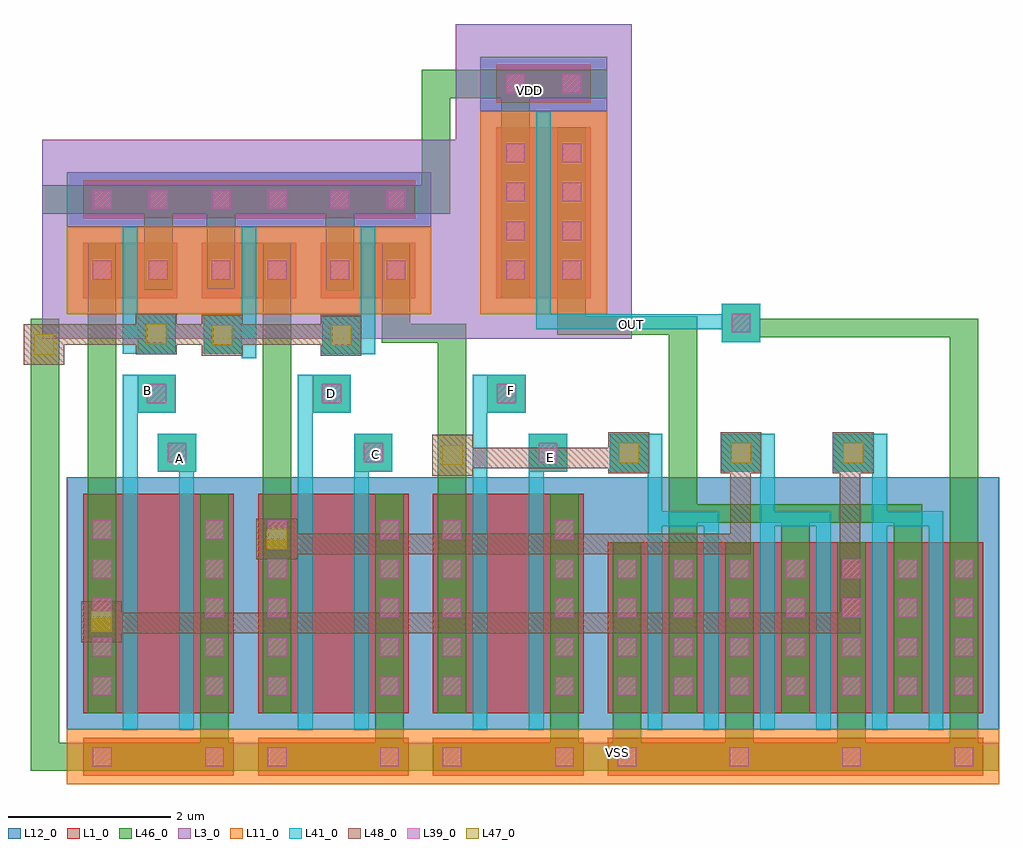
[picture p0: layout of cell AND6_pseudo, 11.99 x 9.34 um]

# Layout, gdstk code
import gdstk
lib = gdstk.Library(unit=1e-6, precision=1e-09)
def R(c, l, rs):  # rectangles x0, y0, x1, y1
    for r in rs: c.add(gdstk.rectangle(r[:2], r[2:], *l))
def A(c, l, x, y, w, h, nx, ny, dx, dy):  # array of equal rectangles
    R(c, l, [(x+i*dx, y+j*dy, x+i*dx+w, y+j*dy+h) for i in range(nx) for j in range(ny)])
L1_0 = (1, 0)
L3_0 = (3, 0)
L11_0 = (11, 0)
L12_0 = (12, 0)
L39_0 = (39, 0)
L41_0 = (41, 0)
L46_0 = (46, 0)
L47_0 = (47, 0)
L48_0 = (48, 0)

and6_pseudo = lib.new_cell('AND6_pseudo')
A(and6_pseudo, L1_0, 6.44, -6.255, 1.85, 0.47, 3, 1, 2.15, 0)
A(and6_pseudo, L1_0, 6.44, -5.485, 1.85, 2.7, 3, 1, 2.15, 0)
A(and6_pseudo, L1_0, 6.44, -0.385, 1.16, 0.68, 3, 1, 1.46, 0)
R(and6_pseudo, L1_0, [(12.89,-6.255,17.5,-5.785), (12.89,-5.485,17.5,-3.385), (11.52,-0.385,12.68,1.715), (6.44,0.595,10.52,1.065), (11.52,2.015,12.68,2.485)])
R(and6_pseudo, L3_0, [(5.94,-0.885,11.02,1.565), (11.02,-0.885,13.18,2.985)])
R(and6_pseudo, L11_0, [(6.24,-6.355,17.7,-5.685), (6.24,-0.585,10.72,0.495), (11.32,-0.585,12.88,1.915)])
R(and6_pseudo, L12_0, [(6.24,-5.685,17.7,-2.585), (6.24,0.495,10.72,1.165), (11.32,1.915,12.88,2.585)])
A(and6_pseudo, L39_0, 13.01, -6.135, 0.23, 0.23, 4, 1, 1.38, 0)
A(and6_pseudo, L39_0, 6.56, -5.265, 0.23, 0.23, 1, 5, 0, 0.48)
A(and6_pseudo, L39_0, 7.94, -5.265, 0.23, 0.23, 1, 5, 0, 0.48)
A(and6_pseudo, L39_0, 8.71, -5.265, 0.23, 0.23, 1, 5, 0, 0.48)
A(and6_pseudo, L39_0, 10.09, -5.265, 0.23, 0.23, 1, 5, 0, 0.48)
A(and6_pseudo, L39_0, 10.86, -5.265, 0.23, 0.23, 1, 5, 0, 0.48)
A(and6_pseudo, L39_0, 12.24, -5.265, 0.23, 0.23, 1, 5, 0, 0.48)
A(and6_pseudo, L39_0, 13.01, -5.265, 0.23, 0.23, 7, 4, 0.69, 0.48)
A(and6_pseudo, L39_0, 13.03, -2.4, 0.23, 0.23, 3, 1, 1.38, 0)
A(and6_pseudo, L39_0, 7.23, -1.675, 0.23, 0.23, 3, 1, 2.15, 0)
A(and6_pseudo, L39_0, 11.64, -0.155, 0.23, 0.23, 1, 4, 0, 0.48)
A(and6_pseudo, L39_0, 12.33, -0.155, 0.23, 0.23, 1, 4, 0, 0.48)
R(and6_pseudo, L39_0, [(6.56,-6.135,6.79,-5.905), (7.94,-6.135,8.17,-5.905), (8.71,-6.135,8.94,-5.905), (10.09,-6.135,10.32,-5.905), (10.86,-6.135,11.09,-5.905), (12.24,-6.135,12.47,-5.905), (7.48,-2.4,7.71,-2.17), (9.89,-2.4,10.12,-2.17), (12.04,-2.4,12.27,-2.17), (9.5,-0.955,9.73,-0.725), (8.04,-0.95,8.27,-0.72), (7.23,-0.935,7.46,-0.705), (14.41,-0.805,14.64,-0.575), (6.56,-0.155,6.79,0.075), (7.25,-0.155,7.48,0.075), (8.02,-0.155,8.25,0.075), (8.71,-0.155,8.94,0.075), (9.48,-0.155,9.71,0.075), (10.17,-0.155,10.4,0.075), (6.56,0.715,6.79,0.945), (7.25,0.715,7.48,0.945), (8.02,0.715,8.25,0.945), (8.71,0.715,8.94,0.945), (9.48,0.715,9.71,0.945), (10.17,0.715,10.4,0.945), (11.64,2.135,11.87,2.365), (12.33,2.135,12.56,2.365)])
A(and6_pseudo, L41_0, 6.93, -5.685, 0.18, 4.36, 3, 1, 2.15, 0)
A(and6_pseudo, L41_0, 7.62, -5.685, 0.18, 3.165, 3, 1, 2.15, 0)
A(and6_pseudo, L41_0, 13.38, -5.685, 0.18, 3.635, 3, 1, 1.38, 0)
A(and6_pseudo, L41_0, 14.07, -5.685, 0.18, 2.5, 3, 1, 1.38, 0)
A(and6_pseudo, L41_0, 13.38, -3.185, 0.87, 0.18, 3, 1, 1.38, 0)
A(and6_pseudo, L41_0, 12.91, -2.52, 0.47, 0.47, 3, 1, 1.38, 0)
A(and6_pseudo, L41_0, 7.11, -1.795, 0.47, 0.47, 3, 1, 2.15, 0)
R(and6_pseudo, L41_0, [(7.36,-2.52,7.83,-2.05), (9.77,-2.52,10.24,-2.05), (11.92,-2.52,12.39,-2.05), (8.39,-1.12,8.57,0.495), (9.38,-1.075,9.85,-0.605), (9.85,-1.075,10.03,0.495), (7.92,-1.07,8.39,-0.6), (6.93,-1.065,7.11,0.495), (7.11,-1.055,7.58,-0.585), (14.29,-0.925,14.76,-0.455), (12.01,-0.765,14.29,-0.585), (12.01,-0.585,12.19,1.915)])
A(and6_pseudo, L46_0, 7.88, -6.195, 0.35, 3.41, 3, 1, 2.15, 0)
A(and6_pseudo, L46_0, 12.95, -6.195, 0.35, 2.81, 3, 1, 1.38, 0)
A(and6_pseudo, L46_0, 12.91, -2.52, 0.47, 0.47, 3, 1, 1.38, 0)
A(and6_pseudo, L46_0, 7.11, -1.795, 0.47, 0.47, 3, 1, 2.15, 0)
R(and6_pseudo, L46_0, [(5.795,-6.195,6.145,-0.635), (6.145,-6.195,17.7,-5.845), (17.09,-6.195,17.44,-0.635), (6.5,-5.485,6.85,0.295), (8.65,-5.485,9,0.295), (10.8,-5.485,11.15,-0.93), (13.64,-5.485,13.99,-0.835), (15.02,-5.485,15.37,-3.145), (16.4,-5.485,16.75,-3.145), (13.64,-3.145,16.75,-2.915), (7.36,-2.52,7.83,-2.05), (9.77,-2.52,10.24,-2.05), (11.92,-2.52,12.39,-2.05), (9.38,-1.075,9.85,-0.605), (7.92,-1.07,8.39,-0.6), (7.11,-1.055,7.58,-0.585), (10.11,-0.93,11.15,-0.7), (14.29,-0.925,14.76,-0.455), (14.76,-0.865,17.09,-0.635), (12.27,-0.835,12.62,1.715), (12.62,-0.835,13.99,-0.605), (10.11,-0.7,10.46,0.295), (11.58,-0.385,11.93,2.425), (9.42,-0.295,9.77,1.005), (7.19,-0.285,7.54,1.005), (7.96,-0.275,8.31,1.005), (5.94,0.655,10.955,1.005), (10.605,1.005,10.955,2.425), (10.605,2.075,12.88,2.425)])
A(and6_pseudo, L47_0, 13.02, -2.41, 0.25, 0.25, 3, 1, 1.38, 0)
R(and6_pseudo, L47_0, [(6.54,-4.485,6.79,-4.235), (8.695,-3.47,8.945,-3.22), (10.855,-2.44,11.105,-2.19), (5.835,-1.08,6.085,-0.83), (9.485,-0.97,9.735,-0.72), (8.025,-0.965,8.275,-0.715), (7.215,-0.95,7.465,-0.7)])
A(and6_pseudo, L48_0, 12.895, -2.535, 0.5, 0.5, 3, 1, 1.38, 0)
R(and6_pseudo, L48_0, [(6.415,-4.61,6.915,-4.11), (6.915,-4.5,15.99,-4.25), (15.74,-4.25,15.99,-2.535), (8.57,-3.595,9.07,-3.095), (9.07,-3.53,14.645,-3.28), (14.395,-3.28,14.645,-2.535), (10.73,-2.565,11.23,-2.065), (11.23,-2.475,12.895,-2.225), (5.71,-1.205,6.21,-0.705), (9.36,-1.095,9.86,-0.595), (7.9,-1.09,8.4,-0.59), (7.09,-1.075,7.59,-0.575), (6.21,-0.955,9.36,-0.705)])
and6_pseudo.add(gdstk.Label('OUT', (13.18,-0.71), layer=101, texttype=0))
and6_pseudo.add(gdstk.Label('F', (11.7,-1.515), layer=101, texttype=0))
and6_pseudo.add(gdstk.Label('D', (9.495,-1.56), layer=101, texttype=0))
and6_pseudo.add(gdstk.Label('B', (7.23,-1.515), layer=101, texttype=0))
and6_pseudo.add(gdstk.Label('E', (12.19,-2.34), layer=101, texttype=0))
and6_pseudo.add(gdstk.Label('C', (10.03,-2.3), layer=101, texttype=0))
and6_pseudo.add(gdstk.Label('A', (7.62,-2.36), layer=101, texttype=0))
and6_pseudo.add(gdstk.Label('VSS', (13.01,-5.965), layer=101, texttype=0))
and6_pseudo.add(gdstk.Label('VDD', (11.93,2.165), layer=101, texttype=0))

lib.write_gds('AND6_pseudo.gds')
